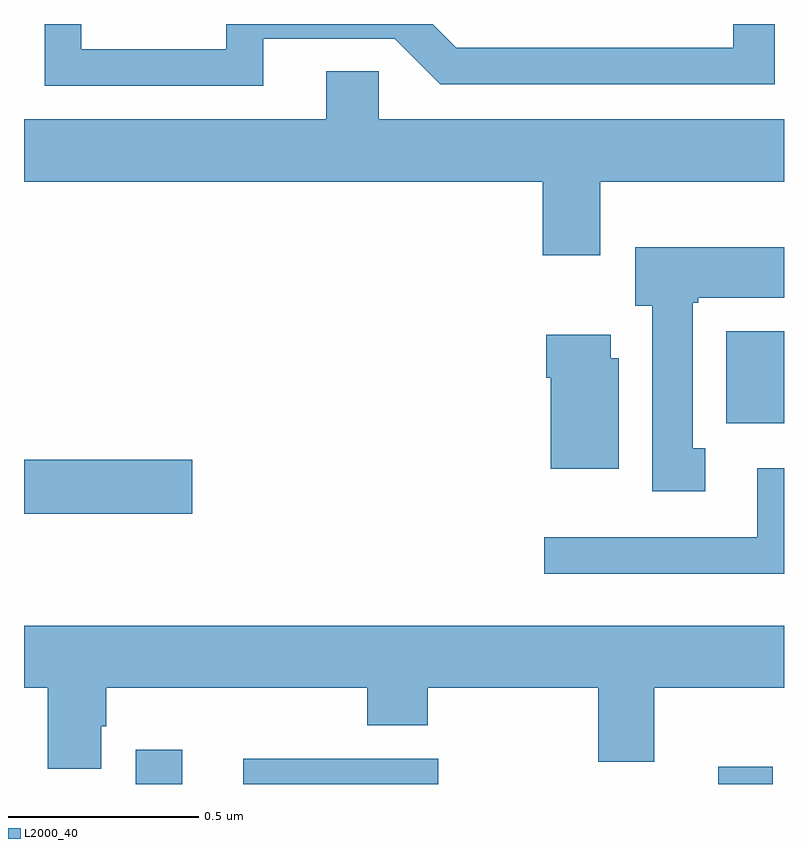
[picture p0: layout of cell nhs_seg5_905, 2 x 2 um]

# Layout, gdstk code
import gdstk
lib = gdstk.Library(unit=1e-6, precision=1e-09)
def R(c, l, rs):  # rectangles x0, y0, x1, y1
    for r in rs: c.add(gdstk.rectangle(r[:2], r[2:], *l))
def P(c, l, *ps):  # polygons
    for p in ps: c.add(gdstk.Polygon(p, *l))
L2000_40 = (2000, 40)

nhs_seg5_905 = lib.new_cell('nhs_seg5_905')
R(nhs_seg5_905, L2000_40, [(122.294,897.799,122.416,897.889), (122.577,897.799,123.09,897.866), (123.827,897.799,123.97,897.844), (122,898.51,122.443,898.652), (123.848,898.748,124,898.99)])
P(nhs_seg5_905, L2000_40, [(122.629,899.76),(122.976,899.76),(123.096,899.64),(123.976,899.64),(123.976,899.799),(123.867,899.799),(123.867,899.736),(123.138,899.736),(123.075,899.799),(122.532,899.799),(122.532,899.733),(122.151,899.733),(122.151,899.799),(122.055,899.799),(122.055,899.637),(122.629,899.637)],
  [(123.517,899.384),(124,899.384),(124,899.548),(122.934,899.548),(122.934,899.675),(122.795,899.675),(122.795,899.548),(122,899.548),(122,899.384),(123.365,899.384),(123.365,899.19),(123.517,899.19)],
  [(123.793,898.682),(123.76,898.682),(123.76,899.065),(123.774,899.065),(123.774,899.078),(124,899.078),(124,899.212),(123.608,899.212),(123.608,899.058),(123.653,899.058),(123.653,898.569),(123.793,898.569)],
  [(123.565,898.92),(123.544,898.92),(123.544,898.981),(123.374,898.981),(123.374,898.868),(123.386,898.868),(123.386,898.628),(123.565,898.628)],
  [(124,898.63),(123.929,898.63),(123.929,898.449),(123.369,898.449),(123.369,898.352),(124,898.352)],
  [(122.203,897.951),(122.216,897.951),(122.216,898.052),(122.903,898.052),(122.903,897.953),(123.063,897.953),(123.063,898.052),(123.511,898.052),(123.511,897.858),(123.658,897.858),(123.658,898.052),(124,898.052),(124,898.216),(122,898.216),(122,898.052),(122.063,898.052),(122.063,897.839),(122.203,897.839)])

lib.write_gds('nhs_seg5_905.gds')
